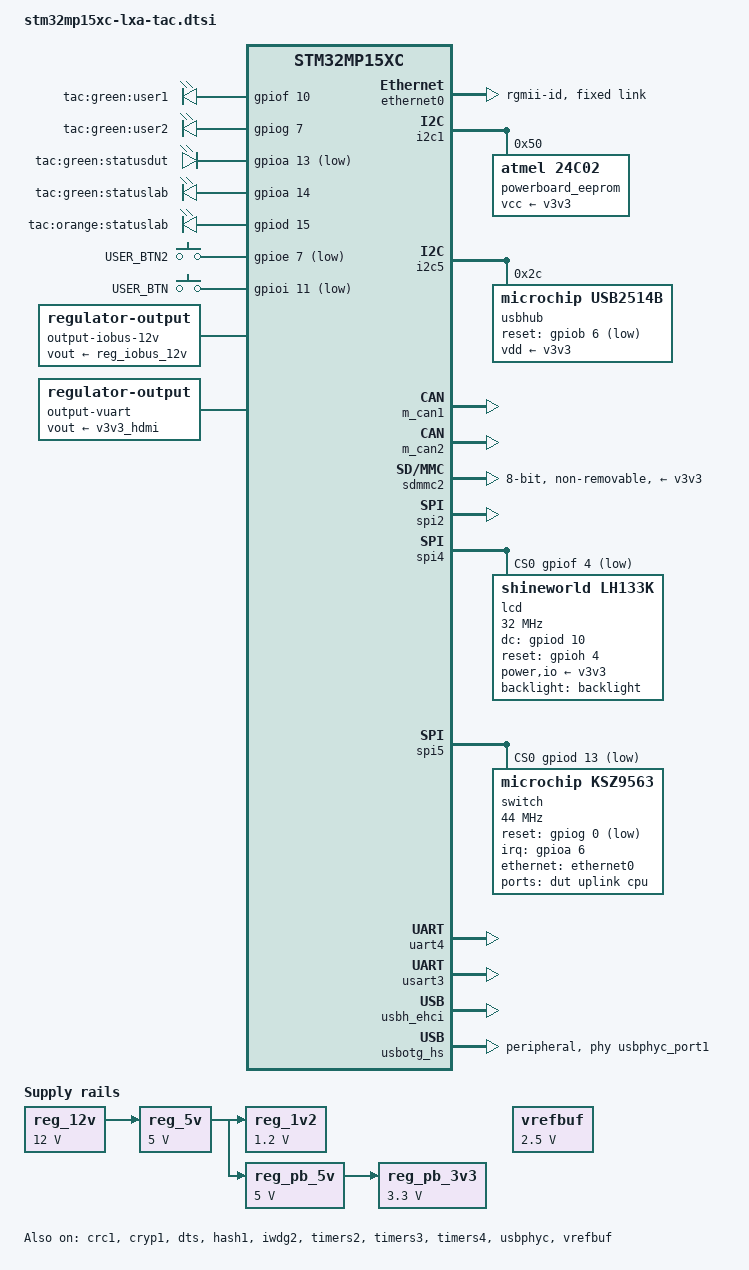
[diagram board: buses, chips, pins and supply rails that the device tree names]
// SPDX-License-Identifier: (GPL-2.0-or-later OR BSD-3-Clause)
/*
 * Copyright (C) 2020 STMicroelectronics - All Rights Reserved
 * Copyright (C) 2021 Rouven Czerwinski, Pengutronix
 * Copyright (C) 2023 Leonard Göhrs, Pengutronix
 */

#include "stm32mp15xc.dtsi"
#include "stm32mp15xx-osd32.dtsi"
#include "stm32mp15xxac-pinctrl.dtsi"

#include <dt-bindings/gpio/gpio.h>
#include <dt-bindings/input/input.h>
#include <dt-bindings/leds/common.h>
#include <dt-bindings/pwm/pwm.h>

/ {
	aliases {
		can0 = &m_can1;
		can1 = &m_can2;
		ethernet0 = &ethernet0;
		ethernet1 = &port_uplink;
		ethernet2 = &port_dut;
		i2c0 = &i2c1;
		i2c1 = &i2c4;
		i2c2 = &i2c5;
		mmc1 = &sdmmc2;
		serial0 = &uart4;
		serial1 = &usart3;
		spi0 = &spi2;
		spi1 = &spi4;
		spi2 = &spi5;
	};

	chosen {
		stdout-path = &uart4;
	};

	led-controller-0 {
		compatible = "gpio-leds";

		led-0 {
			label = "tac:green:user1";
			gpios = <&gpiof 10 GPIO_ACTIVE_HIGH>;
			linux,default-trigger = "heartbeat";
		};

		led-1 {
			label = "tac:green:user2";
			gpios = <&gpiog 7 GPIO_ACTIVE_HIGH>;
		};

		led-2 {
			label = "tac:green:statusdut";
			gpios = <&gpioa 13 GPIO_ACTIVE_LOW>;
		};

		/* led-3 and led-4 are internally connected antiparallel to one
		 * another inside the ethernet jack like this:
		 * GPIOA14 ---+---|led-3|>--+--- GPIOD15
		 *            +--<|led-4|---+
		 * E.g. only one of the LEDs can be illuminated at a time while
		 * the other output must be driven low.
		 * This should likely be implemented using a multi color LED
		 * driver for antiparallel LEDs.
		 */
		led-3 {
			label = "tac:green:statuslab";
			gpios = <&gpioa 14 GPIO_ACTIVE_HIGH>;
		};

		led-4 {
			label = "tac:orange:statuslab";
			gpios = <&gpiod 15 GPIO_ACTIVE_HIGH>;
		};
	};

	gpio-keys {
		compatible = "gpio-keys";

		button-lower {
			label = "USER_BTN2";
			linux,code = <KEY_ESC>;
			gpios = <&gpioe 7 (GPIO_ACTIVE_LOW | GPIO_PULL_UP)>;
		};

		button-upper {
			label = "USER_BTN";
			linux,code = <KEY_HOME>;
			gpios = <&gpioi 11 (GPIO_ACTIVE_LOW | GPIO_PULL_UP)>;
		};
	};

	/* supplied by either barrel connector or PoE */
	reg_12v: regulator-12v {
		compatible = "regulator-fixed";
		regulator-name = "12V";
		regulator-min-microvolt = <12000000>;
		regulator-max-microvolt = <12000000>;
		regulator-always-on;
	};

	reg_5v: regulator-5v {
		compatible = "regulator-fixed";
		regulator-name = "5V";
		regulator-min-microvolt = <5000000>;
		regulator-max-microvolt = <5000000>;
		regulator-always-on;
		vin-supply = <&reg_12v>;
	};

	reg_1v2: regulator-1v2 {
		compatible = "regulator-fixed";
		regulator-name = "1V2";
		regulator-min-microvolt = <1200000>;
		regulator-max-microvolt = <1200000>;
		regulator-always-on;
		vin-supply = <&reg_5v>;
	};

	reg_pb_5v: regulator-pb-5v {
		compatible = "regulator-fixed";
		regulator-name = "5V_POWERBOARD";
		regulator-min-microvolt = <5000000>;
		regulator-max-microvolt = <5000000>;
		regulator-always-on;
		vin-supply = <&reg_5v>;
	};

	reg_pb_3v3: regulator-pb-3v3 {
		compatible = "regulator-fixed";
		regulator-name = "3V3_POWERBOARD";
		regulator-min-microvolt = <3300000>;
		regulator-max-microvolt = <3300000>;
		regulator-always-on;
		vin-supply = <&reg_pb_5v>;
	};

	output-iobus-12v {
		compatible = "regulator-output";
		vout-supply = <&reg_iobus_12v>;
	};

	output-vuart {
		compatible = "regulator-output";
		vout-supply = <&v3v3_hdmi>;
	};
};

baseboard_eeprom: &sip_eeprom {
};

&crc1 {
	status = "okay";
};

&cryp1 {
	status = "okay";
};

&dts {
	status = "okay";
};

&ethernet0 {
	assigned-clocks = <&rcc ETHCK_K>, <&rcc PLL4_P>;
	assigned-clock-parents = <&rcc PLL4_P>;
	assigned-clock-rates = <125000000>; /* Clock PLL4 to 750Mhz in ATF */

	pinctrl-names = "default", "sleep";
	pinctrl-0 = <&ethernet0_rgmii_pins_e>;
	pinctrl-1 = <&ethernet0_rgmii_sleep_pins_e>;

	st,eth-clk-sel;
	phy-mode = "rgmii-id";

	status = "okay";

	fixed-link {
		speed = <1000>;
		full-duplex;
	};
};

&ethernet0_rgmii_pins_e {
	pins1 {
		/* Reduce EMI emission by reducing RGMII drive strength */
		slew-rate = <1>;
	};
};

&gpiob {
	gpio-line-names = "", "", "", "", "", /*  0 */
	"", "USB_RESET", "", "", "",          /*  5 */
	"", "", "", "", "",                   /* 10 */
	"";                                   /* 15 */
};

&gpiod {
	gpio-line-names = "", "", "", "", "TP38", /*  0 */
	"TP39", "", "", "TP41", "TP42",           /*  5 */
	"OLED_DC", "", "", "ETH_CS", "",          /* 10 */
	"ETH_LAB_LEDRN";                          /* 15 */
};

&gpiof {
	gpio-line-names = "TP36", "TP37", "", "", "OLED_CS", /*  0 */
	"", "", "", "", "",                                  /*  5 */
	"USER_LED1", "", "STACK_CS0", "", "",                /* 10 */
	"";                                                  /* 15 */
};

&gpioh {
	gpio-line-names = "", "", "OUT_1", "OUT_0", "OLED_RESET", /*  0 */
	"", "", "", "", "",                                       /*  5 */
	"ETH1_PPS_B", "ETH_GPIO2", "", "IOBUS_PWR_EN", "",        /* 10 */
	"TP33";                                                   /* 15 */
};

&gpioi {
	gpio-line-names = "TIM_RTS", "", "", "", "DEVICE_DATA_EN", /*  0 */
	"", "", "", "ETH_WOL", "TP43",                             /*  5 */
	"", "USER_BTN";                                            /* 10 */
};

&gpioz {
	gpio-line-names = "HWID0", "HWID1", "HWID2", "HWID3", "", /*  0 */
	"", "HWID4", "HWID5";                                     /*  5 */
};

&hash1 {
	status = "okay";
};

&i2c1 {
	pinctrl-names = "default", "sleep";
	pinctrl-0 = <&i2c1_pins_b>;
	pinctrl-1 = <&i2c1_sleep_pins_b>;
	status = "okay";

	powerboard_eeprom: eeprom@50 {
		compatible = "atmel,24c02";
		reg = <0x50>;
		vcc-supply = <&v3v3>;
	};

	temperature-sensor@48 {
		compatible = "national,lm75a";
		reg = <0x48>;
		status = "disabled";
	};
};

&i2c5 {
	/delete-property/dmas;
	/delete-property/dma-names;

	pinctrl-names = "default", "sleep";
	pinctrl-0 = <&i2c5_pins_b>;
	pinctrl-1 = <&i2c5_sleep_pins_b>;

	status = "okay";

	usbhub: usbhub@2c {
		compatible ="microchip,usb2514b";
		reg = <0x2c>;
		vdd-supply = <&v3v3>;
		reset-gpios = <&gpiob 6 GPIO_ACTIVE_LOW>;
	};
};

&iwdg2 {
	timeout-sec = <8>;
	status = "okay";
};

&m_can1 {
	pinctrl-names = "default", "sleep";
	pinctrl-0 = <&m_can1_pins_b>;
	pinctrl-1 = <&m_can1_sleep_pins_b>;
	status = "okay";
};

&m_can2 {
	pinctrl-names = "default", "sleep";
	pinctrl-0 = <&m_can2_pins_a>;
	pinctrl-1 = <&m_can2_sleep_pins_a>;
	status = "okay";
};

&pmic {
	regulators {
		buck1-supply = <&reg_5v>;	/* VIN */
		buck2-supply = <&reg_5v>;	/* VIN */
		buck3-supply = <&reg_5v>;	/* VIN */
		buck4-supply = <&reg_5v>;	/* VIN */
		ldo2-supply = <&reg_5v>;	/* PMIC_LDO25IN */
		ldo4-supply = <&reg_5v>;	/* VIN */
		ldo5-supply = <&reg_5v>;	/* PMIC_LDO25IN */
		vref_ddr-supply = <&reg_5v>;	/* VIN */
		boost-supply = <&reg_5v>;	/* PMIC_BSTIN */
		pwr_sw2-supply = <&bst_out>;	/* PMIC_SWIN */
	};
};

&sdmmc2 {
	pinctrl-names = "default", "opendrain", "sleep";
	pinctrl-0 = <&sdmmc2_b4_pins_a &sdmmc2_d47_pins_b>;
	pinctrl-1 = <&sdmmc2_b4_od_pins_a &sdmmc2_d47_pins_b>;
	pinctrl-2 = <&sdmmc2_b4_sleep_pins_a &sdmmc2_d47_sleep_pins_b>;
	vmmc-supply = <&v3v3>;

	bus-width = <8>;
	mmc-ddr-3_3v;
	no-1-8-v;
	non-removable;
	no-sd;
	no-sdio;
	st,neg-edge;

	status = "okay";
};

&spi2 {
	pinctrl-names = "default";
	pinctrl-0 = <&spi2_pins_c>;
	cs-gpios = <&gpiof 12 (GPIO_ACTIVE_LOW | GPIO_OPEN_DRAIN)>;
	status = "okay";
};

&spi4 {
	pinctrl-names = "default";
	pinctrl-0 = <&spi4_pins_a>;
	cs-gpios = <&gpiof 4 GPIO_ACTIVE_LOW>;
	status = "okay";

	lcd: display@0 {
		compatible = "shineworld,lh133k", "panel-mipi-dbi-spi";
		reg = <0>;
		power-supply = <&v3v3>;
		io-supply = <&v3v3>;
		backlight = <&backlight>;
		dc-gpios = <&gpiod 10 GPIO_ACTIVE_HIGH>;
		reset-gpios = <&gpioh 4 GPIO_ACTIVE_HIGH>;
		spi-3wire;
		spi-max-frequency = <32000000>;

		width-mm = <23>;
		height-mm = <23>;
		rotation = <180>;

		panel-timing {
			hactive = <240>;
			vactive = <240>;
			hback-porch = <0>;
			vback-porch = <0>;

			clock-frequency = <0>;
			hfront-porch = <0>;
			hsync-len = <0>;
			vfront-porch = <0>;
			vsync-len = <0>;
		};
	};
};

&spi5 {
	pinctrl-names = "default";
	pinctrl-0 = <&spi5_pins_a>;

	/* spare dmas for other usage */
	/delete-property/dmas;
	/delete-property/dma-names;

	cs-gpios = <&gpiod 13 GPIO_ACTIVE_LOW>;

	status = "okay";

	switch: switch@0 {
		compatible = "microchip,ksz9563";
		reg = <0>;

		reset-gpios = <&gpiog 0 GPIO_ACTIVE_LOW>;
		spi-max-frequency = <44000000>;

		interrupt-parent = <&gpioa>;
		interrupts = <6 IRQ_TYPE_EDGE_RISING>;

		/* Reduce RGMII EMI emissions by reducing drive strength */
		microchip,hi-drive-strength-microamp = <2000>;
		microchip,lo-drive-strength-microamp = <8000>;

		ports {
			#address-cells = <1>;
			#size-cells = <0>;
			port_dut: port@0 {
				reg = <0>;
				label = "dut";
			};

			port_uplink: port@1 {
				reg = <1>;
				label = "uplink";
			};

			port_cpu: port@2 {
				reg = <2>;
				label = "cpu";

				ethernet = <&ethernet0>;

				phy-mode = "rgmii-id";
				rx-internal-delay-ps = <2000>;
				tx-internal-delay-ps = <2000>;

				fixed-link {
					speed = <1000>;
					full-duplex;
				};
			};
		};
	};
};

&timers2 {
	/* spare dmas for other usage */
	/delete-property/dmas;
	/delete-property/dma-names;

	status = "okay";

	timer@1 {
		status = "okay";
	};
};

&timers3 {
	/* spare dmas for other usage */
	/delete-property/dmas;
	/delete-property/dma-names;

	status = "okay";

	timer@2 {
		status = "okay";
	};
};

&timers4 {
	/* spare dmas for other usage */
	/delete-property/dmas;
	/delete-property/dma-names;

	status = "okay";

	timer@3 {
		status = "okay";
	};
};

&uart4 {
	label = "debug";

	pinctrl-names = "default";
	pinctrl-0 = <&uart4_pins_a>;

	/* spare dmas for other usage */
	/delete-property/dmas;
	/delete-property/dma-names;

	status = "okay";
};

&usart3 {
	label = "dut";
	uart-has-rtscts;

	pinctrl-names = "default";
	pinctrl-0 = <&usart3_pins_f>;

	/* spare dmas for other usage */
	/delete-property/dmas;
	/delete-property/dma-names;

	status = "okay";
};

&usbh_ehci {
	status = "okay";
};

&usbotg_hs {
	phys = <&usbphyc_port1 0>;
	phy-names = "usb2-phy";

	vusb_d-supply = <&vdd_usb>;
	vusb_a-supply = <&reg18>;

	g-rx-fifo-size = <512>;
	g-np-tx-fifo-size = <32>;
	g-tx-fifo-size = <128 128 64 16 16 16 16 16>;

	dr_mode = "peripheral";

	status = "okay";
};

&usbphyc {
	status = "okay";
};

&vrefbuf {
	regulator-min-microvolt = <2500000>;
	regulator-max-microvolt = <2500000>;
	vdda-supply = <&vdda>;

	status = "okay";
};
